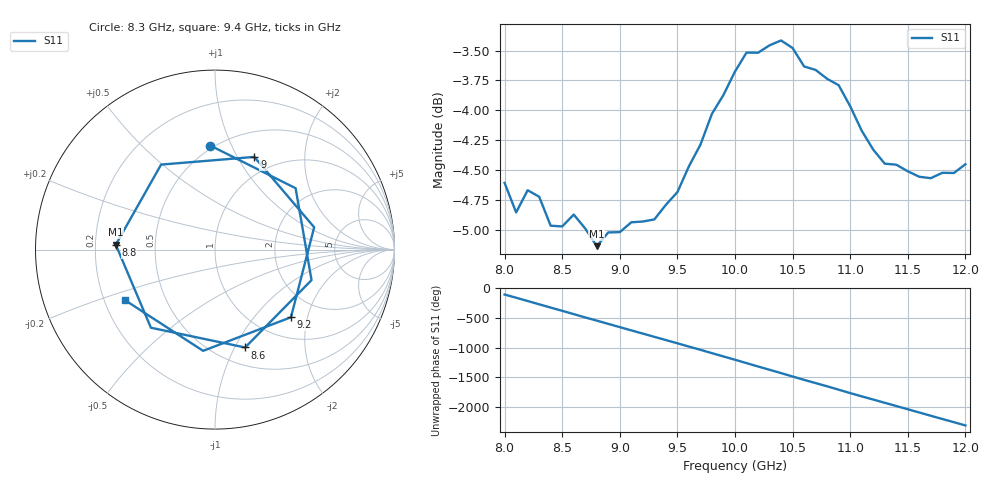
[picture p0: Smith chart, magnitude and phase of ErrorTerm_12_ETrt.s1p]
!  1-Port S-parameters saved by WinCal
! VAR NAME=2-Port SOLT labuser 6
! VAR Error Term Name=ETrt phys rcv port 1 phys src port 2
# Hz S RI R 50
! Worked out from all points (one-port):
!   41 points, 8 GHz to 12 GHz, reference 50 ohm
!   lowest |S11| = -5.1 dB at 8.8 GHz (marker M1), VSWR 3.48, Z = 14.4 + j1.12 ohm
!   |S11| at or under -10 dB: nowhere
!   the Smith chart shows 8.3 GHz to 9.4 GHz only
!   S11 on the Smith chart (normalised r, x): 8.3 GHz: 0.48, +0.83; 8.6 GHz: 0.68, -1.10; 8.8 GHz: 0.29, +0.02; 9 GHz: 0.78, +1.18; 9.2 GHz: 1.43, -1.59; 9.4 GHz: 0.29, -0.24
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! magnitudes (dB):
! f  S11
! 8 GHz  -4.6
! 8.1 GHz  -4.9
! 8.2 GHz  -4.7
! 8.3 GHz  -4.7
! 8.4 GHz  -5.0
! 8.5 GHz  -5.0
! 8.6 GHz  -4.9
! 8.8 GHz  -5.1
! 8.9 GHz  -5.0
! 9 GHz  -5.0
! 9.2 GHz  -4.9
! 9.3 GHz  -4.9
! 9.4 GHz  -4.8
! 9.5 GHz  -4.7
! 9.7 GHz  -4.3
! 9.8 GHz  -4.0
! 10 GHz  -3.7
! 10.1 GHz  -3.5
! 10.4 GHz  -3.4
! 10.5 GHz  -3.5
! 10.6 GHz  -3.6
! 10.9 GHz  -3.8
! 11 GHz  -4.0
! 11.1 GHz  -4.2
! 11.3 GHz  -4.4
! 11.5 GHz  -4.5
! 11.7 GHz  -4.6
! 12 GHz  -4.5
